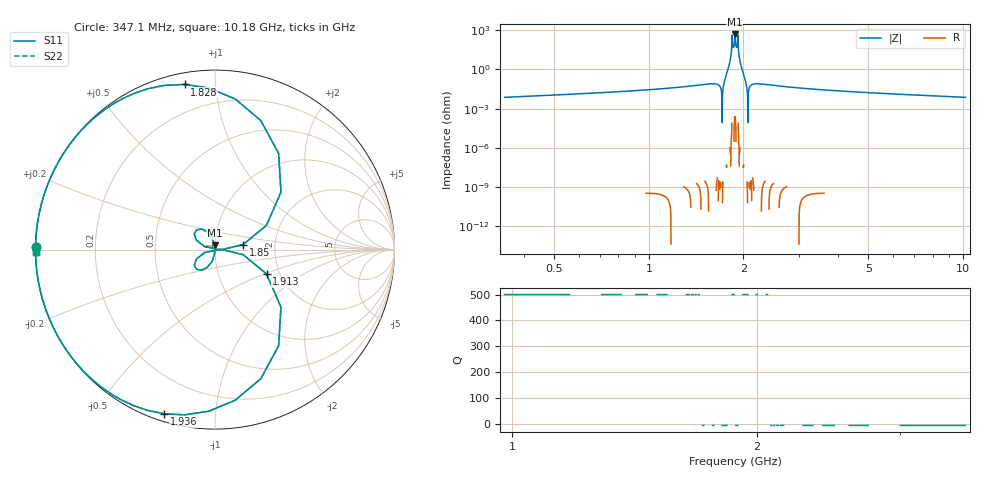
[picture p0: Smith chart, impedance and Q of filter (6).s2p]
! rf-tools.com
! Date: Thu Jan 30 2020 11:09:07 GMT+0000 (格林尼治标准时间)
# Hz S DB R 50.00
!Frequency  S11 dB  S11 Deg  S21 dB  S21 Deg  S12 dB  S12 Deg  S22 dB  S22 Deg
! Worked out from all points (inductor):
!   2000 points, 347.1 MHz to 10.18 GHz, reference 50 ohm
!   read as one part in shunt: L = 3.2 pH near 353 MHz
!   highest |Z| = 467 ohm at 1.878 GHz (marker M1)
!   self-resonance near 1.711 GHz
!   S11 on the Smith chart (normalised r, x): 347.1 MHz: 0.00, +0.01; 1.828 GHz: 0.06, +0.83; 1.85 GHz: 1.37, +0.08; 1.913 GHz: 1.71, -0.52; 1.936 GHz: 0.03, -0.74; 10.18 GHz: 0.00, -0.01
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3.47119e8  -0.00 179.3  -70.68 89.3  -70.68 89.3  -0.00 179.3
1.567467e9  -0.00 170.3  -50.17 80.3  -50.17 80.3  -0.00 170.3
1.65178e9  -0.00 166.3  -50.93 76.3  -50.93 76.3  -0.00 166.3
1.702802e9  -0.00 162.0  -62.01 72.0  -62.01 72.0  -0.00 162.0
1.731825e9  -0.00 158.1  -50.52 -111.9  -50.52 -111.9  -0.00 158.1
1.782304e9  -0.00 145.2  -29.76 -124.8  -29.76 -124.8  -0.00 145.2
1.806566e9  -0.04 131.0  -19.98 -139.0  -19.98 -139.0  -0.04 131.0
1.828065e9  -0.58 100.4  -9.05 -169.6  -9.05 -169.6  -0.58 100.4
1.849821e9  -15.96 10.2  -0.11 100.2  -0.11 100.2  -15.96 10.2
1.878173e9  -32.43 94.8  -0.00 4.8  -0.00 4.8  -32.43 94.8
1.913416e9  -9.96 -25.3  -0.46 -115.3  -0.46 -115.3  -9.96 -25.3
1.936187e9  -0.38 -107.1  -10.80 162.9  -10.80 162.9  -0.38 -107.1
1.985899e9  -0.00 -146.3  -30.88 123.7  -30.88 123.7  -0.00 -146.3
2.043785e9  -0.00 -158.5  -52.32 111.5  -52.32 111.5  -0.00 -158.5
2.07862e9  -0.00 -162.3  -59.89 -72.3  -59.89 -72.3  -0.00 -162.3
2.128388e9  -0.00 -165.7  -51.42 -75.7  -51.42 -75.7  -0.00 -165.7
2.212752e9  -0.00 -169.2  -50.00 -79.2  -50.00 -79.2  -0.00 -169.2
3.624583e9  -0.00 -177.5  -59.43 -87.5  -59.43 -87.5  -0.00 -177.5
5.26587e9  -0.00 -178.6  -64.11 -88.6  -64.11 -88.6  -0.00 -178.6
6.91262e9  -0.00 -179.0  -66.96 -89.0  -66.96 -89.0  -0.00 -179.0
8.55314e9  -0.00 -179.2  -69.04 -89.2  -69.04 -89.2  -0.00 -179.2
1.01795e10  -0.00 -179.3  -70.68 -89.3  -70.68 -89.3  -0.00 -179.3
